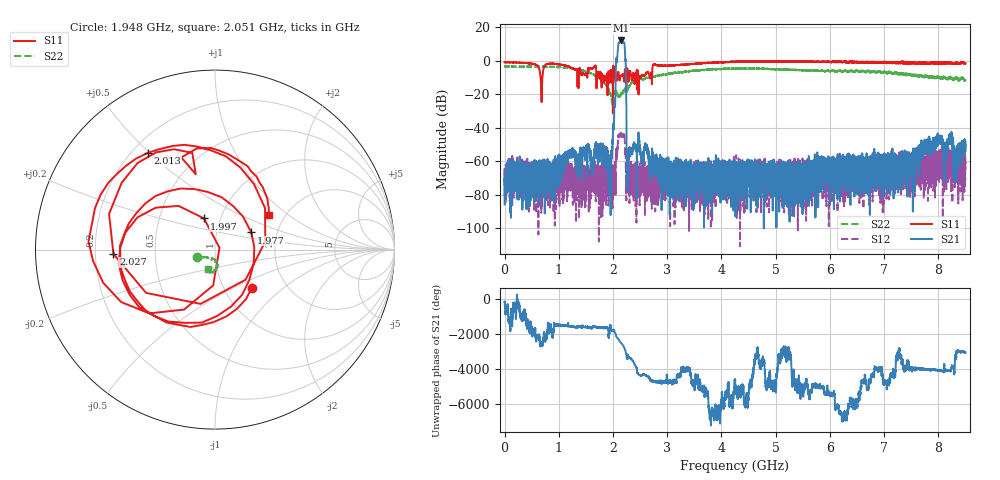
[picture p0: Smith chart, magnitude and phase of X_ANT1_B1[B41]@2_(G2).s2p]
#  HZ  S  RI  R  50.00
! Rohde & Schwarz Vector Network Analyzer
! Rohde-Schwarz,ZNBT8-20Port,1318700624101681,3.50
! Created: UTC 7/15/2025, 2:10:21 PM
! freq[Hz]  re:S1010  im:S1010  re:S0510  im:S0510  re:S1005  im:S1005  re:S55  im:S55
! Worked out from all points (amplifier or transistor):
!   8500 points, 1 MHz to 8.5 GHz, reference 50 ohm
!   highest |S21| = 12.1 dB at 2.145 GHz (marker M1)
!   |S21| within 3 dB of that: 2.095 GHz to 2.215 GHz (120 MHz wide, 5.57 % of centre)
!   unconditionally stable (mu >= 1): start of sweep to end of sweep
!   at 1.417 GHz: K = 1019470.42, MAG = -57.0 dB, |S12| = -71.3 dB
!   at 4.251 GHz: K = 859357.17, MAG = -54.7 dB, |S12| = -80.4 dB
!   at 8.5 GHz: K = 111373.40, MAG = -46.3 dB, |S12| = -65.6 dB
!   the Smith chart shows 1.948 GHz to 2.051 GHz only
!   S11 on the Smith chart (normalised r, x): 1.948 GHz: 1.35, -0.63; 1.977 GHz: 1.47, +0.30; 1.997 GHz: 0.84, +0.30; 2.013 GHz: 0.26, +0.49; 2.027 GHz: 0.28, -0.02; 2.051 GHz: 1.65, +0.73
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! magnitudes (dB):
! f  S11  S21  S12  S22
! 1 MHz  -0.8  -85.9  -81.0  -3.4
! 1.418 GHz  -8.5  -60.3  -72.3  -5.6
! 1.948 GHz  -10.6  -57.8  -70.0  -19.3
! 1.977 GHz  -13.0  -54.8  -66.0  -23.2
! 1.997 GHz  -14.7  -47.2  -70.2  -25.7
! 2.013 GHz  -3.7  -39.6  -66.5  -21.6
! 2.027 GHz  -4.9  -22.9  -70.2  -19.1
! 2.051 GHz  -9.0  -9.1  -65.3  -18.7
! 2.093 GHz  -7.2  8.5  -48.2  -21.8
! 2.145 GHz  -8.8  12.1  -43.3  -19.8
! 2.205 GHz  -12.2  10.7  -44.9  -17.6
! 2.292 GHz  -11.1  -52.2  -65.4  -15.8
! 2.456 GHz  -6.0  -52.4  -62.6  -11.0
! 2.834 GHz  -2.8  -63.0  -80.1  -8.9
! 4.251 GHz  -0.6  -65.1  -80.4  -4.6
! 5.667 GHz  -0.4  -66.5  -60.9  -5.9
! 7.084 GHz  -0.9  -59.5  -69.4  -7.0
! 8.016 GHz  -1.4  -47.2  -57.9  -9.8
! 8.125 GHz  -0.9  -61.3  -66.9  -10.1
! 8.225 GHz  -1.1  -44.2  -60.1  -10.4
! 8.323 GHz  -1.7  -58.9  -58.7  -10.3
! 8.5 GHz  -1.8  -51.3  -65.6  -11.3
